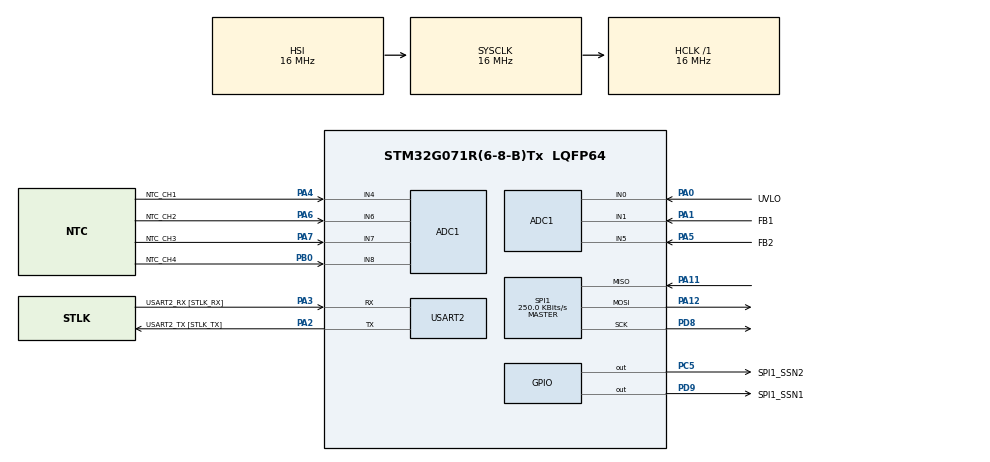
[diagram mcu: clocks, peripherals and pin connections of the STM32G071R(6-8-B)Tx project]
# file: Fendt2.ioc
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ADC1.Channel-0\#ChannelRegularConversion=ADC_CHANNEL_VREFINT
ADC1.Channel-10\#ChannelRegularConversion=ADC_CHANNEL_4
ADC1.Channel-11\#ChannelRegularConversion=ADC_CHANNEL_6
ADC1.Channel-12\#ChannelRegularConversion=ADC_CHANNEL_7
ADC1.Channel-13\#ChannelRegularConversion=ADC_CHANNEL_8
ADC1.Channel-7\#ChannelRegularConversion=ADC_CHANNEL_0
ADC1.Channel-8\#ChannelRegularConversion=ADC_CHANNEL_1
ADC1.Channel-9\#ChannelRegularConversion=ADC_CHANNEL_5
ADC1.ChannelVREF=ADC_CHANNEL_VREFINT
ADC1.ContinuousConvMode=ENABLE
ADC1.DMAContinuousRequests=DISABLE
ADC1.EOCSelection=ADC_EOC_SEQ_CONV
ADC1.NbrOfConversion=8
ADC1.NbrOfConversionFlag=1
ADC1.Rank-0\#ChannelRegularConversion=1
ADC1.Rank-10\#ChannelRegularConversion=5
ADC1.Rank-11\#ChannelRegularConversion=6
ADC1.Rank-12\#ChannelRegularConversion=7
ADC1.Rank-13\#ChannelRegularConversion=8
ADC1.Rank-7\#ChannelRegularConversion=2
ADC1.Rank-8\#ChannelRegularConversion=3
ADC1.Rank-9\#ChannelRegularConversion=4
ADC1.SamplingTime-0\#ChannelRegularConversion=ADC_SAMPLINGTIME_COMMON_1
ADC1.SamplingTime-10\#ChannelRegularConversion=ADC_SAMPLINGTIME_COMMON_1
ADC1.SamplingTime-11\#ChannelRegularConversion=ADC_SAMPLINGTIME_COMMON_1
ADC1.SamplingTime-12\#ChannelRegularConversion=ADC_SAMPLINGTIME_COMMON_1
ADC1.SamplingTime-13\#ChannelRegularConversion=ADC_SAMPLINGTIME_COMMON_1
ADC1.SamplingTime-7\#ChannelRegularConversion=ADC_SAMPLINGTIME_COMMON_1
ADC1.SamplingTime-8\#ChannelRegularConversion=ADC_SAMPLINGTIME_COMMON_1
ADC1.SamplingTime-9\#ChannelRegularConversion=ADC_SAMPLINGTIME_COMMON_1
ADC1.SamplingTimeCommon2=ADC_SAMPLETIME_160CYCLES_5
ADC1.SelectedChannel=ADC_CHANNEL_0|ADC_CHANNEL_1|ADC_CHANNEL_4|ADC_CHANNEL_5|ADC_CHANNEL_6|ADC_CHANNEL_7|ADC_CHANNEL_VREFINT|ADC_CHANNEL_8
ADC1.master=1
Dma.ADC1.0.Direction=DMA_PERIPH_TO_MEMORY
Dma.ADC1.0.EventEnable=DISABLE
Dma.ADC1.0.Instance=DMA1_Channel1
Dma.ADC1.0.MemDataAlignment=DMA_MDATAALIGN_HALFWORD
Dma.ADC1.0.MemInc=DMA_MINC_ENABLE
Dma.ADC1.0.Mode=DMA_NORMAL
Dma.ADC1.0.PeriphDataAlignment=DMA_PDATAALIGN_HALFWORD
Dma.ADC1.0.PeriphInc=DMA_PINC_DISABLE
Dma.ADC1.0.Polarity=HAL_DMAMUX_REQ_GEN_RISING
Dma.ADC1.0.Priority=DMA_PRIORITY_MEDIUM
Dma.ADC1.0.RequestNumber=1
Dma.ADC1.0.SignalID=NONE
Dma.ADC1.0.SyncEnable=DISABLE
Dma.ADC1.0.SyncPolarity=HAL_DMAMUX_SYNC_NO_EVENT
Dma.ADC1.0.SyncRequestNumber=1
Dma.ADC1.0.SyncSignalID=NONE
Dma.Request0=ADC1
FREERTOS.INCLUDE_vTaskDelayUntil=1
FREERTOS.MEMORY_ALLOCATION=1
FREERTOS.Tasks01=Hundred_ms,-1,128,Start_Hundred_ms,Default,NULL,Static,Hundred_ms_Buffer,Hundred_ms_ControlBlock;Ten_ms,1,128,Start_Ten_ms,Default,NULL,Static,Ten_ms_Buffer,Ten_ms_ControlBlock
Mcu.Family=STM32G0
Mcu.Name=STM32G071R(6-8-B)Tx
Mcu.Package=LQFP64
NVIC.DMA1_Channel1_IRQn=true\:3\:0\:false\:false\:true\:true\:false\:true\:true
PA0.GPIO_Label=UVLO
PA0.Mode=IN0
PA0.Signal=ADC1_IN0
PA1.GPIO_Label=FB1
PA1.Mode=IN1
PA1.Signal=ADC1_IN1
PA11\ [PA9].GPIO_PuPd=GPIO_PULLUP
PA11\ [PA9].Mode=Full_Duplex_Master
PA11\ [PA9].Signal=SPI1_MISO
PA12\ [PA10].GPIO_PuPd=GPIO_PULLUP
PA12\ [PA10].Mode=Full_Duplex_Master
PA12\ [PA10].Signal=SPI1_MOSI
PA13.GPIO_Label=TMS
PA13.Mode=Serial_Wire
PA13.Signal=SYS_SWDIO
PA14-BOOT0.GPIO_Label=TCK
PA14-BOOT0.Mode=Serial_Wire
PA14-BOOT0.Signal=SYS_SWCLK
PA2.GPIO_Label=USART2_TX [STLK_TX]
PA2.GPIO_PuPd=GPIO_PULLUP
PA2.Mode=Asynchronous
PA2.Signal=USART2_TX
PA3.GPIO_Label=USART2_RX [STLK_RX]
PA3.GPIO_PuPd=GPIO_PULLUP
PA3.Mode=Asynchronous
PA3.Signal=USART2_RX
PA4.GPIO_Label=NTC_CH1
PA4.Mode=IN4
PA4.Signal=ADC1_IN4
PA5.GPIO_Label=FB2
PA5.Mode=IN5
PA5.Signal=ADC1_IN5
PA6.GPIO_Label=NTC_CH2
PA6.Mode=IN6
PA6.Signal=ADC1_IN6
PA7.GPIO_Label=NTC_CH3
PA7.Mode=IN7
PA7.Signal=ADC1_IN7
PB0.GPIO_Label=NTC_CH4
PB0.Mode=IN8
PB0.Signal=ADC1_IN8
PC13.Mode=SYS_WakeUp1
PC13.Signal=SYS_WKUP2
PC14-OSC32_IN\ (PC14).Mode=LSE-External-Oscillator
PC14-OSC32_IN\ (PC14).Signal=RCC_OSC32_IN
PC15-OSC32_OUT\ (PC15).Mode=LSE-External-Oscillator
PC15-OSC32_OUT\ (PC15).Signal=RCC_OSC32_OUT
PC5.GPIO_Label=SPI1_SSN2
PC5.PinState=GPIO_PIN_SET
PC5.Signal=GPIO_Output
PD8.Mode=Full_Duplex_Master
PD8.Signal=SPI1_SCK
PD9.GPIO_Label=SPI1_SSN1
PD9.PinState=GPIO_PIN_SET
PD9.Signal=GPIO_Output
PF0-OSC_IN\ (PF0).GPIO_Label=MCO
PF0-OSC_IN\ (PF0).Mode=HSE-External-Clock-Source
PF0-OSC_IN\ (PF0).Signal=RCC_OSC_IN
ProjectManager.HeapSize=0x200
ProjectManager.StackSize=0x400
ProjectManager.TargetToolchain=STM32CubeIDE
RCC.AHBFreq_Value=16000000
RCC.CortexFreq_Value=16000000
RCC.EXTERNAL_CLOCK_VALUE=12288000
RCC.HCLKFreq_Value=16000000
RCC.HSE_VALUE=8000000
RCC.HSI_VALUE=16000000
RCC.SYSCLKFreq_VALUE=16000000
RCC.VCOOutputFreq_Value=128000000
SPI1.BaudRatePrescaler=SPI_BAUDRATEPRESCALER_64
SPI1.CLKPhase=SPI_PHASE_1EDGE
SPI1.CLKPolarity=SPI_POLARITY_LOW
SPI1.CalculateBaudRate=250.0 KBits/s
SPI1.DataSize=SPI_DATASIZE_16BIT
SPI1.Direction=SPI_DIRECTION_2LINES
SPI1.Mode=SPI_MODE_MASTER
SPI1.VirtualType=VM_MASTER
USART2.VirtualMode-Asynchronous=VM_ASYNC
VP_ADC1_Vref_Input.Mode=IN-Vrefint
VP_FREERTOS_VS_CMSIS_V1.Mode=CMSIS_V1
board=NUCLEO-G071RB

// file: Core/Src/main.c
/* USER CODE BEGIN Header */
/**
  ******************************************************************************
  * @file           : main.c
  * @brief          : Main program body
  ******************************************************************************
  * @attention
  *
  * Copyright (c) 2023 STMicroelectronics.
  * All rights reserved.
  *
  * This software is licensed under terms that can be found in the LICENSE file
  * in the root directory of this software component.
  * If no LICENSE file comes with this software, it is provided AS-IS.
  *
  ******************************************************************************
  */
/* USER CODE END Header */
#include "main.h"
#include "cmsis_os.h"

/* USER CODE BEGIN Includes */
#include "ADC.h"
#include "Temp_CTRL.h"
#include "PS_CTRL.h"
#include "LV_CTRL.h"
#include "SPI.h"
#include "LED_DRV.h"
#include "SBC.h"
#include "Light_CTRL.h"

/* USER CODE END Includes */

ADC_HandleTypeDef hadc1;
DMA_HandleTypeDef hdma_adc1;

SPI_HandleTypeDef hspi1;

UART_HandleTypeDef huart2;

osThreadId Hundred_msHandle;
uint32_t Hundred_ms_Buffer[ 128 ];
osStaticThreadDef_t Hundred_ms_ControlBlock;
osThreadId Ten_msHandle;
uint32_t Ten_ms_Buffer[ 128 ];
osStaticThreadDef_t Ten_ms_ControlBlock;
/* USER CODE BEGIN PV */

uint16_t NTC;
uint16_t NTC_Max;

/* USER CODE END PV */

void SystemClock_Config(void);
static void MX_GPIO_Init(void);
static void MX_DMA_Init(void);
static void MX_USART2_UART_Init(void);
static void MX_ADC1_Init(void);
static void MX_SPI1_Init(void);
void Start_Hundred_ms(void const * argument);
void Start_Ten_ms(void const * argument);

int main(void)
{

  /* MCU Configuration--------------------------------------------------------*/

  /* Reset of all peripherals, Initializes the Flash interface and the Systick. */
  HAL_Init();

  /* Configure the system clock */
  SystemClock_Config();

  /* Initialize all configured peripherals */
  MX_GPIO_Init();
  MX_DMA_Init();
  MX_USART2_UART_Init();
  MX_ADC1_Init();
  MX_SPI1_Init();
  /* USER CODE BEGIN 2 */
  HAL_ADCEx_Calibration_Start(&hadc1);
  ADC_Enable(&hadc1);
  ADC1_DMA1_Read(&hadc1);						/*first ADC read fill the buffer*/

  do
    {
  	  HAL_Delay(10);
    }while (ADC_ConvCpltCheck(&hadc1) == NO);

  LED_DRV_Init(&hspi1);

  SBC_Init(&hspi1);
  //CurrentStartup(&hspi1);

  /* USER CODE END 2 */

  /* Create the thread(s) */
  /* definition and creation of Hundred_ms */
  osThreadStaticDef(Hundred_ms, Start_Hundred_ms, osPriorityBelowNormal, 0, 128, Hundred_ms_Buffer, &Hundred_ms_ControlBlock);
  Hundred_msHandle = osThreadCreate(osThread(Hundred_ms), NULL);

  /* definition and creation of Ten_ms */
  osThreadStaticDef(Ten_ms, Start_Ten_ms, osPriorityAboveNormal, 0, 128, Ten_ms_Buffer, &Ten_ms_ControlBlock);
  Ten_msHandle = osThreadCreate(osThread(Ten_ms), NULL);

  /* Start scheduler */
  osKernelStart();

  /* We should never get here as control is now taken by the scheduler */
  /* Infinite loop */
  while (1)
  {

  }
}

void SystemClock_Config(void)
{
  RCC_OscInitTypeDef RCC_OscInitStruct = {0};
  RCC_ClkInitTypeDef RCC_ClkInitStruct = {0};

  /** Configure the main internal regulator output voltage
  */
  HAL_PWREx_ControlVoltageScaling(PWR_REGULATOR_VOLTAGE_SCALE1);

  /** Initializes the RCC Oscillators according to the specified parameters
  * in the RCC_OscInitTypeDef structure.
  */
  RCC_OscInitStruct.OscillatorType = RCC_OSCILLATORTYPE_HSI;
  RCC_OscInitStruct.HSIState = RCC_HSI_ON;
  RCC_OscInitStruct.HSIDiv = RCC_HSI_DIV1;
  RCC_OscInitStruct.HSICalibrationValue = RCC_HSICALIBRATION_DEFAULT;
  RCC_OscInitStruct.PLL.PLLState = RCC_PLL_NONE;
  if (HAL_RCC_OscConfig(&RCC_OscInitStruct) != HAL_OK)
  {
    Error_Handler();
  }

  /** Initializes the CPU, AHB and APB buses clocks
  */
  RCC_ClkInitStruct.ClockType = RCC_CLOCKTYPE_HCLK|RCC_CLOCKTYPE_SYSCLK
                              |RCC_CLOCKTYPE_PCLK1;
  RCC_ClkInitStruct.SYSCLKSource = RCC_SYSCLKSOURCE_HSI;
  RCC_ClkInitStruct.AHBCLKDivider = RCC_SYSCLK_DIV1;
  RCC_ClkInitStruct.APB1CLKDivider = RCC_HCLK_DIV1;

  if (HAL_RCC_ClockConfig(&RCC_ClkInitStruct, FLASH_LATENCY_0) != HAL_OK)
  {
    Error_Handler();
  }
}

static void MX_ADC1_Init(void)
{

  ADC_ChannelConfTypeDef sConfig = {0};

  /** Configure the global features of the ADC (Clock, Resolution, Data Alignment and number of conversion)
  */
  hadc1.Instance = ADC1;
  hadc1.Init.ClockPrescaler = ADC_CLOCK_SYNC_PCLK_DIV2;
  hadc1.Init.Resolution = ADC_RESOLUTION_12B;
  hadc1.Init.DataAlign = ADC_DATAALIGN_RIGHT;
  hadc1.Init.ScanConvMode = ADC_SCAN_ENABLE;
  hadc1.Init.EOCSelection = ADC_EOC_SEQ_CONV;
  hadc1.Init.LowPowerAutoWait = DISABLE;
  hadc1.Init.LowPowerAutoPowerOff = DISABLE;
  hadc1.Init.ContinuousConvMode = ENABLE;
  hadc1.Init.NbrOfConversion = 8;
  hadc1.Init.ExternalTrigConv = ADC_SOFTWARE_START;
  hadc1.Init.ExternalTrigConvEdge = ADC_EXTERNALTRIGCONVEDGE_NONE;
  hadc1.Init.DMAContinuousRequests = DISABLE;
  hadc1.Init.Overrun = ADC_OVR_DATA_PRESERVED;
  hadc1.Init.SamplingTimeCommon1 = ADC_SAMPLETIME_1CYCLE_5;
  hadc1.Init.SamplingTimeCommon2 = ADC_SAMPLETIME_160CYCLES_5;
  hadc1.Init.OversamplingMode = DISABLE;
  hadc1.Init.TriggerFrequencyMode = ADC_TRIGGER_FREQ_HIGH;
  if (HAL_ADC_Init(&hadc1) != HAL_OK)
  {
    Error_Handler();
  }

  /** Configure Regular Channel
  */
  sConfig.Channel = ADC_CHANNEL_VREFINT;
  sConfig.Rank = ADC_REGULAR_RANK_1;
  sConfig.SamplingTime = ADC_SAMPLINGTIME_COMMON_1;
  if (HAL_ADC_ConfigChannel(&hadc1, &sConfig) != HAL_OK)
  {
    Error_Handler();
  }

  /** Configure Regular Channel
  */
  sConfig.Channel = ADC_CHANNEL_0;
  sConfig.Rank = ADC_REGULAR_RANK_2;
  if (HAL_ADC_ConfigChannel(&hadc1, &sConfig) != HAL_OK)
  {
    Error_Handler();
  }

  /** Configure Regular Channel
  */
  sConfig.Channel = ADC_CHANNEL_1;
  sConfig.Rank = ADC_REGULAR_RANK_3;
  if (HAL_ADC_ConfigChannel(&hadc1, &sConfig) != HAL_OK)
  {
    Error_Handler();
  }

  /** Configure Regular Channel
  */
  sConfig.Channel = ADC_CHANNEL_5;
  sConfig.Rank = ADC_REGULAR_RANK_4;
  if (HAL_ADC_ConfigChannel(&hadc1, &sConfig) != HAL_OK)
  {
    Error_Handler();
  }

  /** Configure Regular Channel
  */
  sConfig.Channel = ADC_CHANNEL_4;
  sConfig.Rank = ADC_REGULAR_RANK_5;
  if (HAL_ADC_ConfigChannel(&hadc1, &sConfig) != HAL_OK)
  {
    Error_Handler();
  }

  /** Configure Regular Channel
  */
  sConfig.Channel = ADC_CHANNEL_6;
  sConfig.Rank = ADC_REGULAR_RANK_6;
  if (HAL_ADC_ConfigChannel(&hadc1, &sConfig) != HAL_OK)
  {
    Error_Handler();
  }

  /** Configure Regular Channel
  */
  sConfig.Channel = ADC_CHANNEL_7;
  sConfig.Rank = ADC_REGULAR_RANK_7;
  if (HAL_ADC_ConfigChannel(&hadc1, &sConfig) != HAL_OK)
  {
    Error_Handler();
  }

  /** Configure Regular Channel
  */
  sConfig.Channel = ADC_CHANNEL_8;
  sConfig.Rank = ADC_REGULAR_RANK_8;
  if (HAL_ADC_ConfigChannel(&hadc1, &sConfig) != HAL_OK)
  {
    Error_Handler();
  }

}

static void MX_SPI1_Init(void)
{

  /* SPI1 parameter configuration*/
  hspi1.Instance = SPI1;
  hspi1.Init.Mode = SPI_MODE_MASTER;
  hspi1.Init.Direction = SPI_DIRECTION_2LINES;
  hspi1.Init.DataSize = SPI_DATASIZE_16BIT;
  hspi1.Init.CLKPolarity = SPI_POLARITY_LOW;
  hspi1.Init.CLKPhase = SPI_PHASE_1EDGE;
  hspi1.Init.NSS = SPI_NSS_SOFT;
  hspi1.Init.BaudRatePrescaler = SPI_BAUDRATEPRESCALER_64;
  hspi1.Init.FirstBit = SPI_FIRSTBIT_MSB;
  hspi1.Init.TIMode = SPI_TIMODE_DISABLE;
  hspi1.Init.CRCCalculation = SPI_CRCCALCULATION_DISABLE;
  hspi1.Init.CRCPolynomial = 7;
  hspi1.Init.CRCLength = SPI_CRC_LENGTH_DATASIZE;
  hspi1.Init.NSSPMode = SPI_NSS_PULSE_ENABLE;
  if (HAL_SPI_Init(&hspi1) != HAL_OK)
  {
    Error_Handler();
  }

}

static void MX_USART2_UART_Init(void)
{

  huart2.Instance = USART2;
  huart2.Init.BaudRate = 115200;
  huart2.Init.WordLength = UART_WORDLENGTH_8B;
  huart2.Init.StopBits = UART_STOPBITS_1;
  huart2.Init.Parity = UART_PARITY_NONE;
  huart2.Init.Mode = UART_MODE_TX_RX;
  huart2.Init.HwFlowCtl = UART_HWCONTROL_NONE;
  huart2.Init.OverSampling = UART_OVERSAMPLING_16;
  huart2.Init.OneBitSampling = UART_ONE_BIT_SAMPLE_DISABLE;
  huart2.Init.ClockPrescaler = UART_PRESCALER_DIV1;
  huart2.AdvancedInit.AdvFeatureInit = UART_ADVFEATURE_NO_INIT;
  if (HAL_UART_Init(&huart2) != HAL_OK)
  {
    Error_Handler();
  }
  if (HAL_UARTEx_SetTxFifoThreshold(&huart2, UART_TXFIFO_THRESHOLD_1_8) != HAL_OK)
  {
    Error_Handler();
  }
  if (HAL_UARTEx_SetRxFifoThreshold(&huart2, UART_RXFIFO_THRESHOLD_1_8) != HAL_OK)
  {
    Error_Handler();
  }
  if (HAL_UARTEx_DisableFifoMode(&huart2) != HAL_OK)
  {
    Error_Handler();
  }

}

static void MX_DMA_Init(void)
{

  /* DMA controller clock enable */
  __HAL_RCC_DMA1_CLK_ENABLE();

  /* DMA interrupt init */
  /* DMA1_Channel1_IRQn interrupt configuration */
  HAL_NVIC_SetPriority(DMA1_Channel1_IRQn, 3, 0);
  HAL_NVIC_EnableIRQ(DMA1_Channel1_IRQn);

}

static void MX_GPIO_Init(void)
{
  GPIO_InitTypeDef GPIO_InitStruct = {0};

  /* GPIO Ports Clock Enable */
  __HAL_RCC_GPIOC_CLK_ENABLE();
  __HAL_RCC_GPIOF_CLK_ENABLE();
  __HAL_RCC_GPIOA_CLK_ENABLE();
  __HAL_RCC_GPIOB_CLK_ENABLE();
  __HAL_RCC_GPIOD_CLK_ENABLE();

  /*Configure GPIO pin Output Level */
  HAL_GPIO_WritePin(SPI1_SSN2_GPIO_Port, SPI1_SSN2_Pin, GPIO_PIN_SET);

  /*Configure GPIO pin Output Level */
  HAL_GPIO_WritePin(SPI1_SSN1_GPIO_Port, SPI1_SSN1_Pin, GPIO_PIN_SET);

  /*Configure GPIO pin : SPI1_SSN2_Pin */
  GPIO_InitStruct.Pin = SPI1_SSN2_Pin;
  GPIO_InitStruct.Mode = GPIO_MODE_OUTPUT_PP;
  GPIO_InitStruct.Pull = GPIO_NOPULL;
  GPIO_InitStruct.Speed = GPIO_SPEED_FREQ_LOW;
  HAL_GPIO_Init(SPI1_SSN2_GPIO_Port, &GPIO_InitStruct);

  /*Configure GPIO pin : SPI1_SSN1_Pin */
  GPIO_InitStruct.Pin = SPI1_SSN1_Pin;
  GPIO_InitStruct.Mode = GPIO_MODE_OUTPUT_PP;
  GPIO_InitStruct.Pull = GPIO_NOPULL;
  GPIO_InitStruct.Speed = GPIO_SPEED_FREQ_LOW;
  HAL_GPIO_Init(SPI1_SSN1_GPIO_Port, &GPIO_InitStruct);

}

void Start_Hundred_ms(void const * argument)
{
  /* USER CODE BEGIN 5 */
	TickType_t pxPreviousWakeTime = xTaskGetTickCount();
  /* Infinite loop */
  for(;;)
  {
	  /*---------------------------Call function-----------------------------*/

	  NTC_Max_Read();
	  NTC_Max = Get_Debounced_NTC_Max();

	  /*----------------------Wait till the end of 100ms---------------------*/
	 vTaskDelayUntil(&pxPreviousWakeTime, 100);

  }
  /* USER CODE END 5 */
}

void Start_Ten_ms(void const * argument)
{
  /* USER CODE BEGIN Start_Ten_ms */
	TickType_t pxPreviousWakeTime = xTaskGetTickCount();
  /* Infinite loop */
  for(;;)
  {
	/*-------------------------Call ADC_DMA function--------------------------*/

	  ADC1_DMA1_Read(&hadc1);

	/*------------------------call functions for test-------------------------*/

	  UVLO_Read();
	  Calc_Current_V(&hspi1, Get_Debounced_UVLO());

	  FB1_Read();
	  FB2_Read();
	  //Output_Voltage(&hspi1, Get_Debounced_FB1(), Get_Debounced_FB2());

	/*------------------------Wait till the end of 10ms-----------------------*/

	 vTaskDelayUntil(&pxPreviousWakeTime, 10);

  }
  /* USER CODE END Start_Ten_ms */
}

void Error_Handler(void)
{
  __disable_irq();
  while (1)
  {
  }
}

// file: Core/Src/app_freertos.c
/* USER CODE BEGIN Header */
/**
  ******************************************************************************
  * File Name          : app_freertos.c
  * Description        : Code for freertos applications
  ******************************************************************************
  * @attention
  *
  * Copyright (c) 2023 STMicroelectronics.
  * All rights reserved.
  *
  * This software is licensed under terms that can be found in the LICENSE file
  * in the root directory of this software component.
  * If no LICENSE file comes with this software, it is provided AS-IS.
  *
  ******************************************************************************
  */
/* USER CODE END Header */

#include "FreeRTOS.h"
#include "task.h"
#include "main.h"

/* GetIdleTaskMemory prototype (linked to static allocation support) */
void vApplicationGetIdleTaskMemory( StaticTask_t **ppxIdleTaskTCBBuffer, StackType_t **ppxIdleTaskStackBuffer, uint32_t *pulIdleTaskStackSize );

/* USER CODE BEGIN GET_IDLE_TASK_MEMORY */
static StaticTask_t xIdleTaskTCBBuffer;
static StackType_t xIdleStack[configMINIMAL_STACK_SIZE];

void vApplicationGetIdleTaskMemory( StaticTask_t **ppxIdleTaskTCBBuffer, StackType_t **ppxIdleTaskStackBuffer, uint32_t *pulIdleTaskStackSize )
{
  *ppxIdleTaskTCBBuffer = &xIdleTaskTCBBuffer;
  *ppxIdleTaskStackBuffer = &xIdleStack[0];
  *pulIdleTaskStackSize = configMINIMAL_STACK_SIZE;
  /* place for user code */
}
/* USER CODE END GET_IDLE_TASK_MEMORY */
